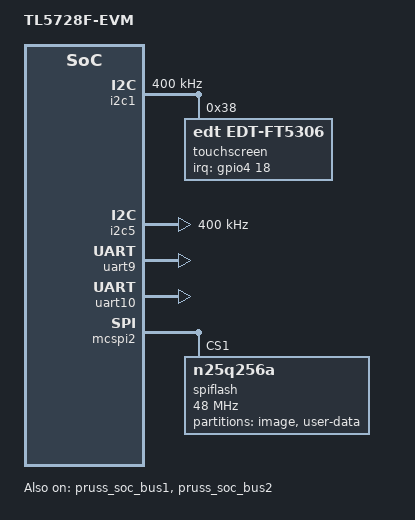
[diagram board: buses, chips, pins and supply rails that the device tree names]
/*
 * Copyright (C) 2015-2017 Texas Instruments Incorporated - http://www.ti.com/
 *
 * This program is free software; you can redistribute it and/or modify
 * it under the terms of the GNU General Public License version 2 as
 * published by the Free Software Foundation.
 */

#include "tl5728-idk.dts"

/ {
	model = "TL5728F-EVM";
};

&dra7_pmx_core {
	uart10_pins_default: uart10_pins_default {
		pinctrl-single,pins = <
			DRA7XX_CORE_IOPAD(0x3570, (PIN_INPUT_PULLUP | MUX_MODE8)) /* vin2a_d2.uart10_rxd */
			DRA7XX_CORE_IOPAD(0x3574, (PIN_INPUT_PULLUP | MUX_MODE8)) /* vin2a_d3.uart10_txd */
		>;
	};

	uart9_pins_default: uart9_pins_default {
		pinctrl-single,pins = <
			DRA7XX_CORE_IOPAD(0x3560, (PIN_INPUT_PULLUP | MUX_MODE7)) /* vin2a_hsync0.uart9_rxd (G1) */
			DRA7XX_CORE_IOPAD(0x3564, (PIN_INPUT_PULLUP | MUX_MODE7)) /* vin2a_vsync0.uart9_txd (G6) */
		>;
	};

	edt_ft5x06_pins: edt_ft5x06_pins {
		pinctrl-single,pins = <
			0x2e4 (PIN_INPUT_PULLUP | MUX_MODE14) /* mcasp1_axr12.gpio4_18 (E14) */
		>;
	};

	usb2_pins_default: usb2_pins_default {
		pinctrl-single,pins = <
			DRA7XX_CORE_IOPAD(0x3684, (PIN_OUTPUT_PULLUP | MUX_MODE0)) /* usb2_drvvbus.usb2_drvvbus */
		>;
	};
};

&i2c1 {
	status = "okay";
	clock-frequency = <400000>;

	touchscreen: edt-ft5306@38 {
		status = "okay";
		compatible = "edt,edt-ft5306", "edt,edt-ft5x06";
		pinctrl-names = "default";
		pinctrl-0 = <&edt_ft5x06_pins>;

		reg = <0x38>;

		interrupt-parent = <&gpio4>;
		interrupts = <18 0>;

		touchscreen-size-x = <800>;
		touchscreen-size-y = <480>;
	};
};

&i2c5 {
	status = "okay";
	clock-frequency = <400000>;

	pinctrl-names = "default";
	pinctrl-0 = <&i2c5_pins_default>;
};

&uart9 {
	status = "okay";
	pinctrl-names = "default";
	pinctrl-0 = <&uart9_pins_default>;
};

&uart10 {
	status = "okay";
	pinctrl-names = "default";
	pinctrl-0 = <&uart10_pins_default>;
};

&mcspi2 {
	status = "okay";

	ad5724r@0 {
		status = "disable";
	};

	spiflash@1 {
		compatible = "n25q256a";
		spi-max-frequency = <48000000>;

		reg = <1>;

		spi-tx-bus-width = <1>;
		spi-rx-bus-width = <1>;
		#address-cells = <1>;
		#size-cells = <1>;

		partition@0 {
			label = "image";
			reg = <0x00000000 0x003B0000>;
		};

		partition@2 {
			label = "user-data";
			reg = <0x003B0000 0x01C50000>;
		};
	};
};

&qspi {
	m25p80@0{
		status = "disable";
	};
};

&usb2 {
	pinctrl-names = "default";
	pinctrl-0 = <&usb2_pins_default>;
};

&pruss_soc_bus1 {
	status = "okay";
};

&pruss_soc_bus2 {
	status = "okay";
};

&pruss2_mdio {
	status = "disable";
};
